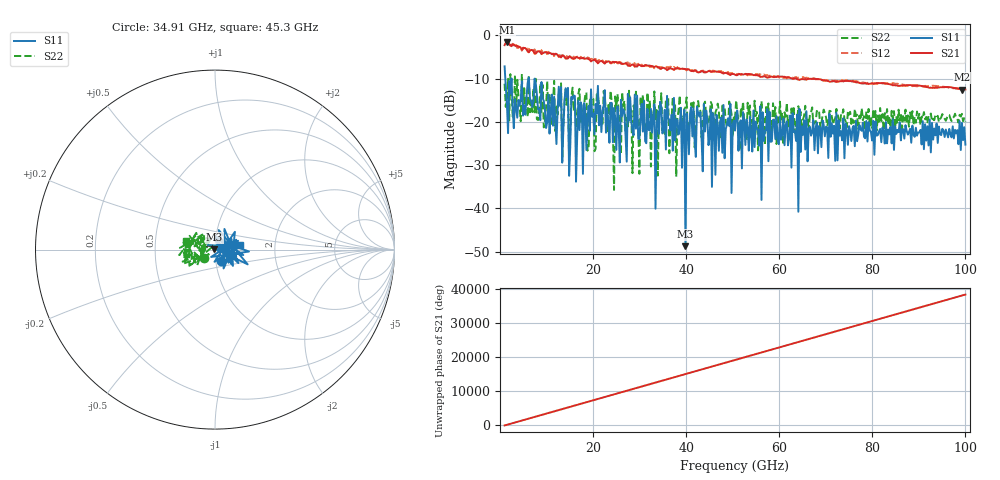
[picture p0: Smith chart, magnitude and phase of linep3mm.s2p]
!Created with skrf (http://scikit-rf.org).
# GHz S RI R 50.0
!freq ReS11 ImS11 ReS21 ImS21 ReS12 ImS12 ReS22 ImS22
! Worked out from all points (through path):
!   401 points, 1 GHz to 100 GHz, reference 50 ohm
!   highest |S21| = -1.52 dB at 1.495 GHz (marker M1); lowest = -12.5 dB at 99.26 GHz (marker M2)
!   lowest |S11| = -48.8 dB at 39.86 GHz (marker M3), VSWR 1.01, Z = 49.7 + j0.12 ohm
!   |S11| at or under -10 dB: 1.151 GHz to 2.481 GHz (1.329 GHz wide, 73.2 % of centre); 2.487 GHz to 6.139 GHz (3.652 GHz wide, 84.7 % of centre); 7.436 GHz to end of sweep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
!   |S22| runs from -35.7 to -8.9 dB; largest |S21 - S12| = 0.11
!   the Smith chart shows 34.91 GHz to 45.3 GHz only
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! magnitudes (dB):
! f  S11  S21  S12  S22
! 1 GHz  -7.2  -2.2  -1.3  -11.2
! 1.495 GHz  -15.8  -1.5  -1.5  -14.6
! 11.89 GHz  -19.5  -4.3  -4.2  -22.1
! 14.12 GHz  -12.2  -5.4  -5.0  -12.5
! 17.58 GHz  -16.2  -5.3  -5.1  -18.9
! 21.05 GHz  -11.7  -6.5  -5.8  -13.8
! 24.51 GHz  -16.8  -6.2  -6.3  -35.7
! 25.25 GHz  -16.4  -6.3  -6.4  -13.6
! 27.98 GHz  -14.3  -7.1  -6.4  -16.8
! 32.68 GHz  -22.5  -7.1  -7.2  -18.4
! 33.17 GHz  -15.9  -7.3  -7.6  -13.0
! 34.16 GHz  -22.8  -7.5  -7.3  -16.3
! 39.86 GHz  -48.8  -7.8  -7.8  -16.6
! 42.83 GHz  -18.8  -8.5  -8.2  -17.2
! 46.05 GHz  -19.7  -8.4  -8.2  -24.1
! 50.5 GHz  -22.0  -9.1  -8.8  -19.3
! 56.69 GHz  -24.4  -9.4  -9.0  -19.2
! 56.94 GHz  -22.1  -9.5  -9.2  -25.4
! 67.08 GHz  -22.4  -10.1  -10.0  -16.6
! 83.67 GHz  -22.9  -11.3  -11.1  -18.6
! 99.26 GHz  -20.2  -12.5  -12.3  -18.1
! 100 GHz  -25.2  -12.5  -12.3  -20.0
